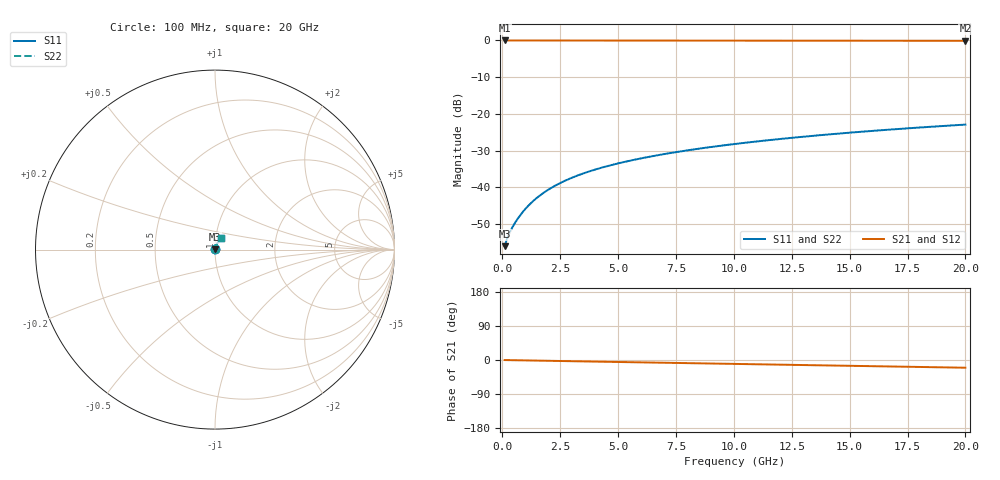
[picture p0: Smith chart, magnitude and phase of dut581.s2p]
! Touchstone file exported from HFSS 2026.1.0
!  File:  C:/ffzhzh/LocalFiles/Ansys_Project_Files/temp_train_BSMRDL_581_1783015686_4048.aedt
!  Generated:  02:09:20 AM Jul  3, 2026
!  Design:  BSMRDL
!  Project:  temp_train_BSMRDL_581_1783015686_4048
! Variables:
!  h_bsmrdl = 5.71um
!  h_ox = 20um
!  h_rdl = 5um
!  h_sub = 80um
!  h_tmrdl = 5um
!  h_tsv = 80um
!  h_via = 3um
!  l_bsmrdl = 353.17um
!  l_sub = 753.17um
!  l_tmrdl = 200um
!  m_sub = 200um
!  pitch = 25.06um
!  r_tsv = 6um
!  s_tmrdl = 10um
!  w_bsmrdl = 17.08um
!  w_sub = 500um
!  w_tmrdl = 12um
!  x_tsv_center1 = 206um
!  x_tsv_center2 = 576.25um
!  x_tsv_center3 = 788.25um
!  x_tsv_center4 = 1158.5um
!  x_tsv_center5 = 1370.5um
!  x_tsv_center6 = 1740.75um
# GHz S MA R 50.000000
! Terminal data exported
! Port[1] = BSM_RDL1_1_T1
! Port[2] = BSM_RDL1_1_T2
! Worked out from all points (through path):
!   200 points, 100 MHz to 20 GHz, reference 50 ohm
!   highest |S21| = -0.01 dB at 100 MHz (marker M1); lowest = -0.1 dB at 20 GHz (marker M2)
!   group delay of S21, straight-line fit = 2.82 ps
!   lowest |S11| = -56.0 dB at 100 MHz (marker M3), VSWR 1.00, Z = 50.1 + j0.0643 ohm
!   |S11| at or under -10 dB: start of sweep to end of sweep
!   |S22| runs from -56.0 to -22.9 dB; largest |S21 - S12| = 9.4e-15
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0.1  0.001578 23.9  0.9986 -0.1  0.9986 -0.1  0.001578 23.9
! Gamma 0 0 0 0
! Port Impedance 50 0 50 0
0.2  0.001969 36.3  0.9984 -0.2  0.9984 -0.2  0.001969 36.3
0.3  0.002349 43.5  0.9983 -0.3  0.9983 -0.3  0.002349 43.5
0.4  0.002716 48.9  0.9982 -0.4  0.9982 -0.4  0.002716 48.9
0.6  0.00347 56.7  0.9981 -0.7  0.9981 -0.7  0.00347 56.7
0.9  0.004676 63.9  0.998 -1.0  0.998 -1.0  0.004676 63.9
1.1  0.005512 66.8  0.9979 -1.2  0.9979 -1.2  0.005512 66.8
1.3  0.00636 68.8  0.9978 -1.4  0.9978 -1.4  0.00636 68.8
1.7  0.008065 71.3  0.9976 -1.8  0.9976 -1.8  0.008065 71.3
2.2  0.01018 72.7  0.9973 -2.3  0.9973 -2.3  0.01018 72.7
2.8  0.01266 73.3  0.9969 -3.0  0.9969 -3.0  0.01266 73.3
3.5  0.01545 73.4  0.9964 -3.7  0.9964 -3.7  0.01545 73.4
4.2  0.01815 73.2  0.996 -4.4  0.996 -4.4  0.01815 73.2
5  0.02115 72.9  0.9954 -5.2  0.9954 -5.2  0.02115 72.9
5.9  0.02443 72.5  0.9949 -6.2  0.9949 -6.2  0.02443 72.5
6.8  0.02765 72.0  0.9944 -7.1  0.9944 -7.1  0.02765 72.0
8.3  0.0329 71.1  0.9936 -8.6  0.9936 -8.6  0.0329 71.1
10.1  0.03909 70.0  0.9927 -10.4  0.9927 -10.4  0.03909 69.9
11.7  0.0445 68.9  0.9919 -12.0  0.9919 -12.0  0.0445 68.8
13.4  0.05017 67.6  0.9912 -13.7  0.9912 -13.7  0.05017 67.6
16.7  0.06094 65.0  0.9897 -17.1  0.9897 -17.1  0.06095 65.0
20  0.0714 62.2  0.9882 -20.4  0.9882 -20.4  0.0714 62.2
